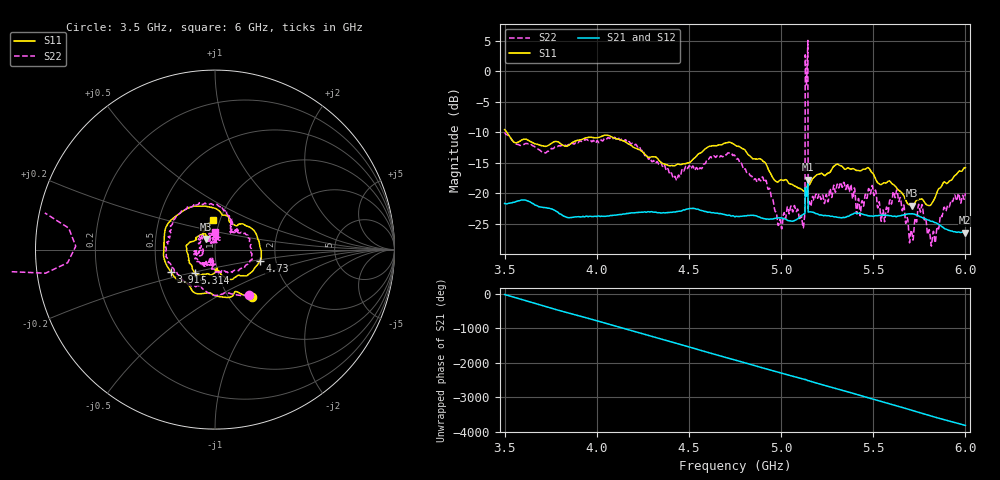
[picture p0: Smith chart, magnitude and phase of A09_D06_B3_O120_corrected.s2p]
! Created with skrf 1.9.0 (http://scikit-rf.org).
# Hz S RI R 50.0
!freq ReS11 ImS11 ReS21 ImS21 ReS12 ImS12 ReS22 ImS22
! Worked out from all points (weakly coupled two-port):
!   1601 points, 3.5 GHz to 6 GHz, reference 50 ohm
!   highest |S21| = -17.75 dB at 5.145 GHz (marker M1); lowest = -26.4 dB at 5.995 GHz (marker M2)
!   lowest |S11| = -22.0 dB at 5.711 GHz (marker M3), VSWR 1.17, Z = 44.8 + j5.39 ohm
!   |S11| at or under -10 dB: 3.512 GHz to end of sweep
!   |S22| runs from -28.6 to 5.0 dB; largest |S21 - S12| = 0.0011
!   S11 on the Smith chart (normalised r, x): 3.5 GHz: 1.27, -0.75; 3.914 GHz: 0.59, -0.16; 4.73 GHz: 1.66, -0.22; 5.314 GHz: 0.77, -0.21; 6 GHz: 0.93, +0.31
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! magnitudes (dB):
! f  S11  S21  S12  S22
! 3.5 GHz  -9.6  -21.6  -21.6  -10.0
! 3.914 GHz  -11.2  -23.9  -23.8  -11.5
! 3.917 GHz  -11.2  -23.9  -23.8  -11.5
! 4.334 GHz  -14.5  -23.2  -23.1  -15.2
! 4.73 GHz  -11.7  -23.7  -23.6  -13.4
! 4.75 GHz  -12.1  -23.8  -23.7  -13.9
! 4.911 GHz  -14.9  -24.2  -24.1  -18.2
! 4.994 GHz  -17.8  -24.0  -23.9  -24.3
! 5.112 GHz  -19.4  -23.6  -23.5  -24.0
! 5.117 GHz  -19.5  -23.5  -23.4  -25.4
! 5.133 GHz  -19.2  -19.7  -19.6  1.1
! 5.145 GHz  -18.7  -17.7  -17.7  5.0
! 5.159 GHz  -18.3  -23.0  -22.9  -22.1
! 5.167 GHz  -17.8  -23.1  -23.0  -21.0
! 5.314 GHz  -15.3  -23.9  -23.9  -19.1
! 5.584 GHz  -18.0  -23.6  -23.6  -22.3
! 5.636 GHz  -19.4  -23.7  -23.7  -20.9
! 5.711 GHz  -22.0  -23.3  -23.3  -26.6
! 5.755 GHz  -21.0  -23.8  -23.8  -22.9
! 5.825 GHz  -21.3  -24.6  -24.6  -26.3
! 5.995 GHz  -15.8  -26.4  -26.3  -20.8
! 6 GHz  -15.8  -26.4  -26.4  -20.0
